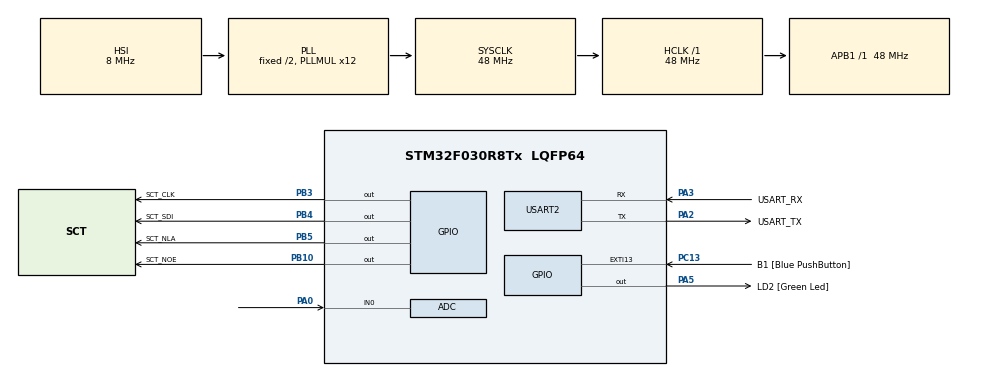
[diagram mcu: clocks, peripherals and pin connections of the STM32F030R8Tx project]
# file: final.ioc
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ADC.ContinuousConvMode=ENABLE
ADC.Overrun=ADC_OVR_DATA_OVERWRITTEN
ADC.SamplingTime=ADC_SAMPLETIME_239CYCLES_5
Mcu.Family=STM32F0
Mcu.Name=STM32F030R8Tx
Mcu.Package=LQFP64
NVIC.ADC1_IRQn=true\:0\:0\:false\:false\:true\:true\:true\:true
PA0.Mode=IN0
PA0.Signal=ADC_IN0
PA13.GPIO_Label=TMS
PA13.Mode=Serial_Wire
PA13.Signal=SYS_SWDIO
PA14.GPIO_Label=TCK
PA14.Mode=Serial_Wire
PA14.Signal=SYS_SWCLK
PA2.GPIO_Label=USART_TX
PA2.GPIO_Mode=GPIO_MODE_AF_PP
PA2.GPIO_PuPd=GPIO_NOPULL
PA2.GPIO_Speed=GPIO_SPEED_FREQ_LOW
PA2.Mode=Asynchronous
PA2.Signal=USART2_TX
PA3.GPIO_Label=USART_RX
PA3.GPIO_Mode=GPIO_MODE_AF_PP
PA3.GPIO_PuPd=GPIO_NOPULL
PA3.GPIO_Speed=GPIO_SPEED_FREQ_LOW
PA3.Mode=Asynchronous
PA3.Signal=USART2_RX
PA5.GPIO_Label=LD2 [Green Led]
PA5.GPIO_Mode=GPIO_MODE_OUTPUT_PP
PA5.GPIO_PuPd=GPIO_NOPULL
PA5.GPIO_Speed=GPIO_SPEED_FREQ_LOW
PA5.Signal=GPIO_Output
PB10.GPIO_Label=SCT_NOE
PB10.Signal=GPIO_Output
PB3.GPIO_Label=SCT_CLK
PB3.Signal=GPIO_Output
PB4.GPIO_Label=SCT_SDI
PB4.Signal=GPIO_Output
PB5.GPIO_Label=SCT_NLA
PB5.Signal=GPIO_Output
PC13.GPIO_Label=B1 [Blue PushButton]
PC13.GPIO_ModeDefaultEXTI=GPIO_MODE_IT_FALLING
PC13.Signal=GPXTI13
PC14-OSC32_IN.Mode=LSE-External-Oscillator
PC14-OSC32_IN.Signal=RCC_OSC32_IN
PC15-OSC32_OUT.Mode=LSE-External-Oscillator
PC15-OSC32_OUT.Signal=RCC_OSC32_OUT
PF0-OSC_IN.Mode=HSE-External-Clock-Source
PF0-OSC_IN.Signal=RCC_OSC_IN
PF1-OSC_OUT.Signal=RCC_OSC_OUT
ProjectManager.HeapSize=0x200
ProjectManager.StackSize=0x400
ProjectManager.TargetToolchain=STM32CubeIDE
RCC.AHBFreq_Value=48000000
RCC.APB1Freq_Value=48000000
RCC.APB1TimFreq_Value=48000000
RCC.HCLKFreq_Value=48000000
RCC.PLLMUL=RCC_PLL_MUL12
RCC.SYSCLKFreq_VALUE=48000000
RCC.SYSCLKSource=RCC_SYSCLKSOURCE_PLLCLK
USART2.VirtualMode-Asynchronous=VM_ASYNC
board=NUCLEO-F030R8

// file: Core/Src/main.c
/* USER CODE BEGIN Header */
/**
  ******************************************************************************
  * @file           : main.c
  * @brief          : Main program body
  ******************************************************************************
  * @attention
  *
  * Copyright (c) 2023 STMicroelectronics.
  * All rights reserved.
  *
  * This software is licensed under terms that can be found in the LICENSE file
  * in the root directory of this software component.
  * If no LICENSE file comes with this software, it is provided AS-IS.
  *
  ******************************************************************************
  */
/* USER CODE END Header */
#include "main.h"

/* USER CODE BEGIN Includes */
#include <stdint.h>
#include "sct.h"
/* USER CODE END Includes */

/* USER CODE BEGIN PD */
#define ADC_RANGE 4096
#define MIN_RANGE 20
#define MAX_RANGE 481
/* USER CODE END PD */

ADC_HandleTypeDef hadc;

UART_HandleTypeDef huart2;

/* USER CODE BEGIN PV */
static volatile uint32_t raw_pot;
static uint8_t ADC_Q = 12;
/* USER CODE END PV */

void SystemClock_Config(void);
static void MX_GPIO_Init(void);
static void MX_USART2_UART_Init(void);
static void MX_ADC_Init(void);

/* USER CODE BEGIN 0 */
void HAL_ADC_ConvCpltCallback(ADC_HandleTypeDef* hadc)
{
	 static uint32_t avg_pot;
	 raw_pot = avg_pot >> ADC_Q;
	 avg_pot -= raw_pot;
	 avg_pot += HAL_ADC_GetValue(hadc);
}
/* USER CODE END 0 */

int main(void)
{

  /* MCU Configuration--------------------------------------------------------*/

  /* Reset of all peripherals, Initializes the Flash interface and the Systick. */
  HAL_Init();

  /* Configure the system clock */
  SystemClock_Config();

  /* Initialize all configured peripherals */
  MX_GPIO_Init();
  MX_USART2_UART_Init();
  MX_ADC_Init();
  /* USER CODE BEGIN 2 */
  sct_init();
  HAL_ADCEx_Calibration_Start(&hadc);
  HAL_ADC_Start_IT(&hadc);
  /* USER CODE END 2 */

  /* Infinite loop */
  while (1)
  {

    /* USER CODE BEGIN 3 */
	sct_value(raw_pot * MAX_RANGE / ADC_RANGE + MIN_RANGE);
    HAL_Delay(50);
  }
  /* USER CODE END 3 */
}

void SystemClock_Config(void)
{
  RCC_OscInitTypeDef RCC_OscInitStruct = {0};
  RCC_ClkInitTypeDef RCC_ClkInitStruct = {0};

  /** Initializes the RCC Oscillators according to the specified parameters
  * in the RCC_OscInitTypeDef structure.
  */
  RCC_OscInitStruct.OscillatorType = RCC_OSCILLATORTYPE_HSI|RCC_OSCILLATORTYPE_HSI14;
  RCC_OscInitStruct.HSIState = RCC_HSI_ON;
  RCC_OscInitStruct.HSI14State = RCC_HSI14_ON;
  RCC_OscInitStruct.HSICalibrationValue = RCC_HSICALIBRATION_DEFAULT;
  RCC_OscInitStruct.HSI14CalibrationValue = 16;
  RCC_OscInitStruct.PLL.PLLState = RCC_PLL_ON;
  RCC_OscInitStruct.PLL.PLLSource = RCC_PLLSOURCE_HSI;
  RCC_OscInitStruct.PLL.PLLMUL = RCC_PLL_MUL12;
  RCC_OscInitStruct.PLL.PREDIV = RCC_PREDIV_DIV1;
  if (HAL_RCC_OscConfig(&RCC_OscInitStruct) != HAL_OK)
  {
    Error_Handler();
  }

  /** Initializes the CPU, AHB and APB buses clocks
  */
  RCC_ClkInitStruct.ClockType = RCC_CLOCKTYPE_HCLK|RCC_CLOCKTYPE_SYSCLK
                              |RCC_CLOCKTYPE_PCLK1;
  RCC_ClkInitStruct.SYSCLKSource = RCC_SYSCLKSOURCE_PLLCLK;
  RCC_ClkInitStruct.AHBCLKDivider = RCC_SYSCLK_DIV1;
  RCC_ClkInitStruct.APB1CLKDivider = RCC_HCLK_DIV1;

  if (HAL_RCC_ClockConfig(&RCC_ClkInitStruct, FLASH_LATENCY_1) != HAL_OK)
  {
    Error_Handler();
  }
}

static void MX_ADC_Init(void)
{

  ADC_ChannelConfTypeDef sConfig = {0};

  /** Configure the global features of the ADC (Clock, Resolution, Data Alignment and number of conversion)
  */
  hadc.Instance = ADC1;
  hadc.Init.ClockPrescaler = ADC_CLOCK_ASYNC_DIV1;
  hadc.Init.Resolution = ADC_RESOLUTION_12B;
  hadc.Init.DataAlign = ADC_DATAALIGN_RIGHT;
  hadc.Init.ScanConvMode = ADC_SCAN_DIRECTION_FORWARD;
  hadc.Init.EOCSelection = ADC_EOC_SINGLE_CONV;
  hadc.Init.LowPowerAutoWait = DISABLE;
  hadc.Init.LowPowerAutoPowerOff = DISABLE;
  hadc.Init.ContinuousConvMode = ENABLE;
  hadc.Init.DiscontinuousConvMode = DISABLE;
  hadc.Init.ExternalTrigConv = ADC_SOFTWARE_START;
  hadc.Init.ExternalTrigConvEdge = ADC_EXTERNALTRIGCONVEDGE_NONE;
  hadc.Init.DMAContinuousRequests = DISABLE;
  hadc.Init.Overrun = ADC_OVR_DATA_OVERWRITTEN;
  if (HAL_ADC_Init(&hadc) != HAL_OK)
  {
    Error_Handler();
  }

  /** Configure for the selected ADC regular channel to be converted.
  */
  sConfig.Channel = ADC_CHANNEL_0;
  sConfig.Rank = ADC_RANK_CHANNEL_NUMBER;
  sConfig.SamplingTime = ADC_SAMPLETIME_239CYCLES_5;
  if (HAL_ADC_ConfigChannel(&hadc, &sConfig) != HAL_OK)
  {
    Error_Handler();
  }

}

static void MX_USART2_UART_Init(void)
{

  huart2.Instance = USART2;
  huart2.Init.BaudRate = 38400;
  huart2.Init.WordLength = UART_WORDLENGTH_8B;
  huart2.Init.StopBits = UART_STOPBITS_1;
  huart2.Init.Parity = UART_PARITY_NONE;
  huart2.Init.Mode = UART_MODE_TX_RX;
  huart2.Init.HwFlowCtl = UART_HWCONTROL_NONE;
  huart2.Init.OverSampling = UART_OVERSAMPLING_16;
  huart2.Init.OneBitSampling = UART_ONE_BIT_SAMPLE_DISABLE;
  huart2.AdvancedInit.AdvFeatureInit = UART_ADVFEATURE_NO_INIT;
  if (HAL_UART_Init(&huart2) != HAL_OK)
  {
    Error_Handler();
  }

}

static void MX_GPIO_Init(void)
{
  GPIO_InitTypeDef GPIO_InitStruct = {0};

  /* GPIO Ports Clock Enable */
  __HAL_RCC_GPIOC_CLK_ENABLE();
  __HAL_RCC_GPIOF_CLK_ENABLE();
  __HAL_RCC_GPIOA_CLK_ENABLE();
  __HAL_RCC_GPIOB_CLK_ENABLE();

  /*Configure GPIO pin Output Level */
  HAL_GPIO_WritePin(GPIOA, GPIO_PIN_5, GPIO_PIN_RESET);

  /*Configure GPIO pin Output Level */
  HAL_GPIO_WritePin(GPIOB, GPIO_PIN_10|GPIO_PIN_3|GPIO_PIN_4|GPIO_PIN_5, GPIO_PIN_RESET);

  /*Configure GPIO pin : PC13 */
  GPIO_InitStruct.Pin = GPIO_PIN_13;
  GPIO_InitStruct.Mode = GPIO_MODE_IT_FALLING;
  GPIO_InitStruct.Pull = GPIO_NOPULL;
  HAL_GPIO_Init(GPIOC, &GPIO_InitStruct);

  /*Configure GPIO pin : PA5 */
  GPIO_InitStruct.Pin = GPIO_PIN_5;
  GPIO_InitStruct.Mode = GPIO_MODE_OUTPUT_PP;
  GPIO_InitStruct.Pull = GPIO_NOPULL;
  GPIO_InitStruct.Speed = GPIO_SPEED_FREQ_LOW;
  HAL_GPIO_Init(GPIOA, &GPIO_InitStruct);

  /*Configure GPIO pins : PB10 PB3 PB4 PB5 */
  GPIO_InitStruct.Pin = GPIO_PIN_10|GPIO_PIN_3|GPIO_PIN_4|GPIO_PIN_5;
  GPIO_InitStruct.Mode = GPIO_MODE_OUTPUT_PP;
  GPIO_InitStruct.Pull = GPIO_NOPULL;
  GPIO_InitStruct.Speed = GPIO_SPEED_FREQ_LOW;
  HAL_GPIO_Init(GPIOB, &GPIO_InitStruct);

}

void Error_Handler(void)
{
  __disable_irq();
  while (1)
  {
  }
}
